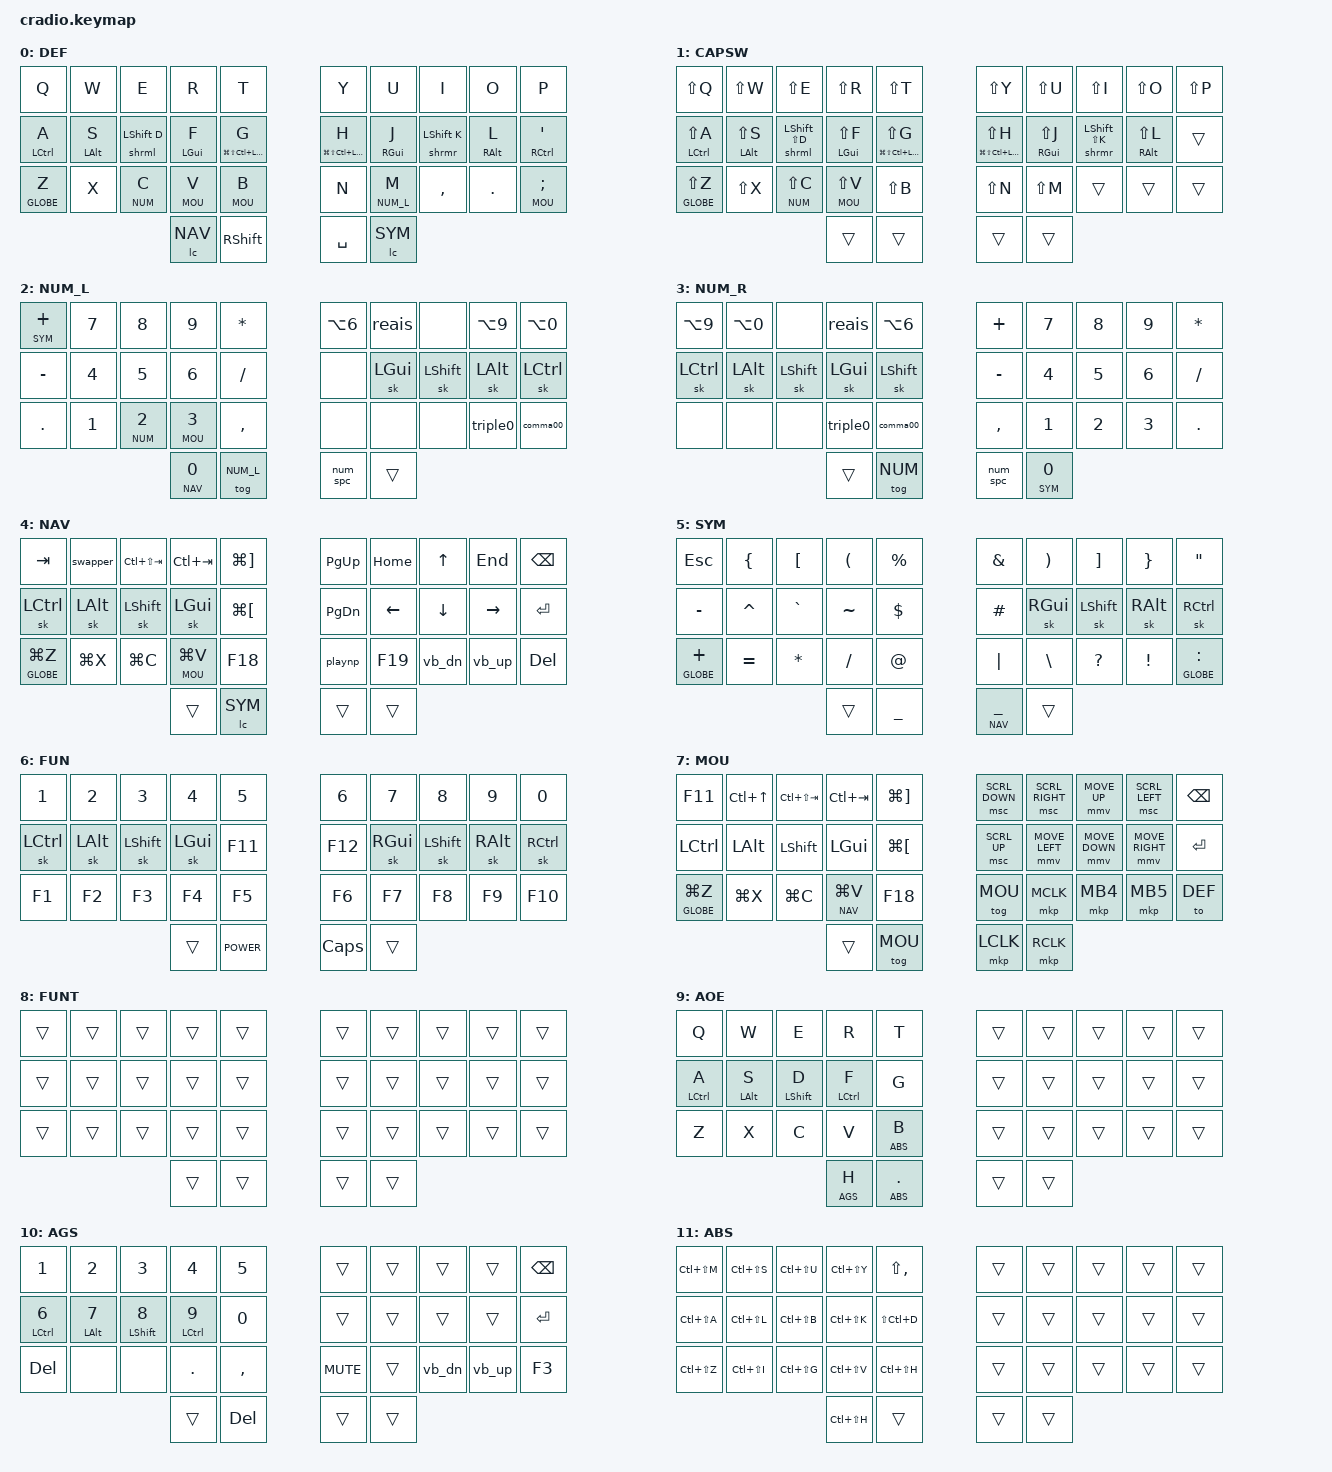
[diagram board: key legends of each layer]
#include <behaviors.dtsi>
#include <dt-bindings/zmk/bt.h>
#include <dt-bindings/zmk/keys.h>
#include <dt-bindings/zmk/outputs.h>

// Layer and key defines to improve readability on the keymap
#define DEF  0
#define CAPSW 1 // Shifted mirror of DEF driven by &caps_al. Must sit directly above DEF so every other layer still outranks it. Named CAPSW because CAPS is already a keycode alias in keys.h
#define NUM_L 2 // experimenting with numpad on left hand for mouse usage on the right
#define NUM  3
#define NAV  4
#define SYM  5
#define FUN  6
#define MOU  7 // also great for one-handed use with a mouse on the right hand
#define FUNT 8 // A second conditional layer to allow for one handed FUN activation on thumb combo

// AOE layers
#define AOE 9 // AOE 2 layers with easier access for default shortcuts on main layer
#define AGS 10
#define ABS 11

#define HYPR LG(LS(LC(LALT))) // shorthand for HYPER key hold-tap on G and H keys

// These includes allow for easier maintenance and readability between different keymaps
#include "features/sweep_keypos.h"                  // Key positions naming scheme for 34 keys keymaps (useful to make combos and behaviors code interoperable between different keyboards)

// Features and customizations (all these .dtsi files are shared with Totem repo)
#include "features/timings.h"                       // Timing definitions for hold-taps and combos
#include "features/core_behaviors_overrides.dtsi"   // Overriding defaults from core behaviors
#include "features/mouse.dtsi"                      // Requires layer defines above since it uses NAV as input processor
#include "features/num_word.dtsi"                   // Custom behaviors like swapper and desktop quit

/ {
    combos { 
        #include "features/combos.dtsi"             // Using a separate file for repurposing it to other keyboards
    };
 
    behaviors { 
        #include "features/custom_behaviors.dtsi"   // Custom behaviors for hold-taps, swapper and other gimmickry
    };

    macros { 
        #include "features/layer_cancel_macros.dtsi" // Inserts a K_CANCEL tap to disengage queued mods from layers 
        #include "features/typing_macros.dtsi"       // Typing macros for common words and phrases
    };

    conditional_layers {
        compatible = "zmk,conditional-layers";

        tri_layer_for_function_and_number_row_keys {  // Tri-layer allows to make these keys unsensible to the order of layer key release, so I can trigger NUM from NAV and, on relase of NAV, get to SYM
            if-layers = <NAV SYM>;
            then-layer = <FUN>;
        };

        fun_on_thumb {  // Needed for thumb combos to activate FUN 
            if-layers = <FUNT>;
            then-layer = <FUN>;
        };

    };

    keymap {
        compatible = "zmk,keymap";

        DEF {
            bindings = <
  &kp Q          &kp W          &kp E          &kp R         &kp T           &kp Y           &kp U          &kp I           &kp O           &kp P
  &hrml LCTRL A  &hrml LALT S   &shrml LSHFT D &hrml LGUI F  &hrml HYPR G    &hrmr HYPR H    &hrmr RGUI J   &shrmr LSHFT K  &hrmr RALT L    &hrmr RCTRL SQT
  &hrml GLOBE Z  &kp X          &ltl NUM C     &ltl MOU V    &ltl MOU B      &kp N           &ltr NUM_L M   &kp COMMA       &kp DOT         &lt MOU SEMI
                                               &lc NAV       &kp RSHFT       &kp SPC         &lc SYM
            >;
        };

        CAPSW { // Shifted mirror of DEF. Entered/left via &caps_al, which drops the layer as soon as a non-shift modifier is pressed. Non-letters are &trans so they fall back to DEF
            bindings = <
  &kp LS(Q)         &kp LS(W)        &kp LS(E)          &kp LS(R)        &kp LS(T)          &kp LS(Y)        &kp LS(U)        &kp LS(I)           &kp LS(O)         &kp LS(P)
  &hrml LCTRL LS(A) &hrml LALT LS(S) &shrml LSHFT LS(D) &hrml LGUI LS(F) &hrml HYPR LS(G)   &hrmr HYPR LS(H) &hrmr RGUI LS(J) &shrmr LSHFT LS(K)  &hrmr RALT LS(L)  &trans
  &hrml GLOBE LS(Z) &kp LS(X)        &ltl NUM LS(C)     &ltl MOU LS(V)   &kp LS(B)          &kp LS(N)        &kp LS(M)        &trans              &trans            &trans
                                                        &trans           &trans             &trans           &trans
            >;
        };

        NUM_L {
            bindings = <
  &lt SYM PLUS &kp N7  &kp N8     &kp N9      &kp ASTRK   &kp LA(N6) &reais   &none       &kp LA(N9)  &kp LA(N0) 
  &kp MINUS    &kp N4  &kp N5     &kp N6      &kp SLASH   &none      &sk LGUI &sk LSHFT   &sk LALT    &sk LCTRL  
  &kp DOT      &kp N1  &mt NUM N2 &mt MOU N3  &kp COMMA   &none      &none    &none       &triple0    &comma00    
                                  &lt NAV N0  &tog NUM_L  &num_spc   &trans
            >;
        };

        NUM_R {
            bindings = <
  &kp LA(N9) &kp LA(N0) &none       &reais      &kp LA(N6)  &kp PLUS    &kp N7  &kp N8  &kp N9  &kp ASTRK
  &sk LCTRL  &sk LALT   &sk LSHFT   &sk LGUI    &sk LSHFT   &kp MINUS   &kp N4  &kp N5  &kp N6  &kp SLASH
  &none      &none      &none       &triple0    &comma00    &kp COMMA   &kp N1  &kp N2  &kp N3  &kp DOT
                                    &trans      &tog NUM    &num_spc    &lt SYM N0
            >;
        };

        NAV {
            bindings = <
  &kp TAB         &swapper  &kp LC(LS(TAB)) &kp LC(TAB)     &kp LG(RBKT)    &kp PG_UP   &kp HOME  &kp UP    &kp END   &kp BSPC
  &sk LCTRL       &sk LALT  &sk LSHFT       &sk LGUI        &kp LG(LBKT)    &kp PG_DN   &kp LEFT  &kp DOWN  &kp RIGHT &kp RET
  &mt GLOBE LG(Z) &kp LG(X) &kp LG(C)       &lt MOU LG(V)   &kp F18         &playnp     &kp F19   &vb_dn    &vb_up    &kp DEL 
                                            &trans          &lc SYM         &trans      &trans 
            >; // F18 and F19 are here for triggering macros and shortcuts on macOS without interfering with normal usage on other keys
        };

        SYM {
            bindings = <
  &kp ESC           &kp LBRC   &kp LBKT   &kp LPAR   &kp PRCNT    &kp AMPS  &kp RPAR  &kp RBKT   &kp RBRC  &kp DQT
  &kp MINUS         &kp CARET  &kp GRAVE  &kp TILDE  &kp DOLLAR   &kp HASH  &sk RGUI  &sk LSHFT  &sk RALT  &sk RCTRL
  &mt GLOBE PLUS    &kp EQUAL  &kp ASTRK  &kp FSLH   &kp AT       &kp PIPE  &kp BSLH  &kp QMARK  &kp EXCL  &mt GLOBE COLON
                                          &trans     &kp UNDER    &lt NAV UNDER &trans
            >;
        };

        FUN {
            bindings = <
  &kp N1    &kp N2    &kp N3     &kp N4    &kp N5       &kp N6    &kp N7    &kp N8     &kp N9    &kp N0
  &sk LCTRL &sk LALT  &sk LSHFT  &sk LGUI  &kp F11      &kp F12   &sk RGUI  &sk LSHFT  &sk RALT  &sk RCTRL
  &kp F1    &kp F2    &kp F3     &kp F4    &kp F5       &kp F6    &kp F7    &kp F8     &kp F9    &kp F10
                                 &trans    &kp C_POWER  &kp CAPS  &trans
            >;
        };

        MOU {
            bindings = <
  &kp F11         &kp LC(UP) &kp LC(LS(TAB)) &kp LC(TAB)   &kp LG(RBKT)  &msc SCRL_DOWN  &msc SCRL_RIGHT &mmv MOVE_UP    &msc SCRL_LEFT  &kp BSPC
  &kp LCTRL       &kp LALT   &kp LSHFT       &kp LGUI      &kp LG(LBKT)  &msc SCRL_UP    &mmv MOVE_LEFT  &mmv MOVE_DOWN  &mmv MOVE_RIGHT &kp ENTER
  &mt GLOBE LG(Z) &kp LG(X)  &kp LG(C)       &lt NAV LG(V) &kp F18      &tog MOU        &mkp MCLK       &mkp MB4        &mkp MB5        &to DEF
                                             &trans        &tog MOU      &mkp LCLK       &mkp RCLK            
            >;          
        };
        
        FUNT {
          bindings = <
          &trans &trans &trans &trans &trans &trans &trans &trans &trans &trans 
          &trans &trans &trans &trans &trans &trans &trans &trans &trans &trans 
          &trans &trans &trans &trans &trans &trans &trans &trans &trans &trans 
                               &trans &trans &trans &trans
          >;
        };

        AOE {
            bindings = <
  &kp Q        &kp W      &kp E       &kp R        &kp T        &trans  &trans  &trans  &trans  &trans
  &mt LCTRL A  &mt LALT S &mt LSHFT D &mt LCTRL F  &kp G        &trans  &trans  &trans  &trans  &trans
  &kp Z        &kp X      &kp C       &kp V        &lt ABS B    &trans  &trans  &trans  &trans  &trans
                                      &lt AGS H    &lt ABS DOT  &trans  &trans
            >;
        };

        AGS {
            bindings = <
  &kp N1        &kp N2       &kp N3       &kp N4        &kp N5     &trans     &trans  &trans  &trans  &kp BSPC
  &mt LCTRL N6  &mt LALT N7  &mt LSHFT N8 &mt LCTRL N9  &kp N0     &trans     &trans  &trans  &trans  &kp ENTER
  &kp DEL       &none        &none        &kp DOT       &kp COMMA  &kp C_MUTE &trans  &vb_dn  &vb_up  &kp F3
                                          &trans        &kp DEL    &trans     &trans 
            >;
        };

        ABS {
            bindings = <
  &kp LC(LS(M))   &kp LC(LS(S))   &kp LC(LS(U))   &kp LC(LS(Y))   &kp LS(COMMA)    &trans  &trans  &trans  &trans  &trans
  &kp LC(LS(A))   &kp LC(LS(L))   &kp LC(LS(B))   &kp LC(LS(K))   &kp LS(LC(D))    &trans  &trans  &trans  &trans  &trans
  &kp LC(LS(Z))   &kp LC(LS(I))   &kp LC(LS(G))   &kp LC(LS(V))   &kp LC(LS(H))    &trans  &trans  &trans  &trans  &trans
                                                &kp LC(LS(H))   &trans           &trans  &trans
            >;
        };
    };
};
